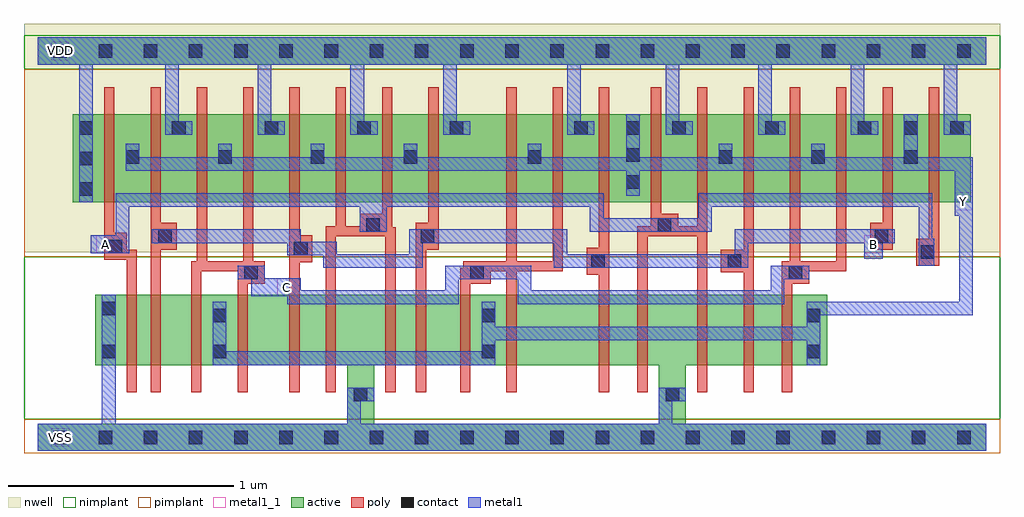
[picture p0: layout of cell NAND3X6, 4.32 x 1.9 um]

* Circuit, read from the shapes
.subckt NAND3X6 A B C VDD VSS Y
M1 n1 A VSS VSS nfet w=0.31u l=0.045u
M2 n2 B n1 VSS nfet w=0.31u l=0.045u
M3 Y C n2 VSS nfet w=0.31u l=0.045u
M4 n3 C Y VSS nfet w=0.31u l=0.045u
M5 n4 B n3 VSS nfet w=0.31u l=0.045u
M6 VSS A n4 VSS nfet w=0.31u l=0.045u
M7 n5 A VSS VSS nfet w=0.31u l=0.045u
M8 n6 B n5 VSS nfet w=0.31u l=0.045u
M9 Y C n6 VSS nfet w=0.31u l=0.045u
M10 n7 C Y VSS nfet w=0.31u l=0.045u
M11 n8 B n7 VSS nfet w=0.31u l=0.045u
M12 VSS A n8 VSS nfet w=0.31u l=0.045u
M13 n9 A VSS VSS nfet w=0.31u l=0.045u
M14 n10 B n9 VSS nfet w=0.31u l=0.045u
M15 Y C n10 VSS nfet w=0.31u l=0.045u
M16 Y A VDD VDD pfet w=0.39u l=0.045u m=6
M17 VDD B Y VDD pfet w=0.39u l=0.045u m=6
M18 Y C VDD VDD pfet w=0.39u l=0.045u m=6
.ends

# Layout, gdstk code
import gdstk
lib = gdstk.Library(unit=1e-6, precision=5e-10)
def R(c, l, rs):  # rectangles x0, y0, x1, y1
    for r in rs: c.add(gdstk.rectangle(r[:2], r[2:], *l))
def A(c, l, x, y, w, h, nx, ny, dx, dy):  # array of equal rectangles
    R(c, l, [(x+i*dx, y+j*dy, x+i*dx+w, y+j*dy+h) for i in range(nx) for j in range(ny)])
def P(c, l, *ps):  # polygons
    for p in ps: c.add(gdstk.Polygon(p, *l))
active = (1, 0)
nwell = (2, 0)
poly = (3, 0)
nimplant = (4, 0)
pimplant = (5, 0)
contact = (6, 0)
metal1 = (7, 0)
metal1_1 = (7, 1)

nand3x6 = lib.new_cell('NAND3X6')
R(nand3x6, active, [(0.155,1.04,4.13,1.43), (0,1.65,4.2,1.77)])
P(nand3x6, active, [(0.255,0.63),(3.495,0.63),(3.495,0.32),(2.87,0.32),(2.87,0.06),(4.2,0.06),(4.2,-0.06),(0,-0.06),(0,0.06),(1.37,0.06),(1.37,0.32),(1.49,0.32),(1.49,0.06),(2.75,0.06),(2.75,0.32),(0.255,0.32)])
R(nand3x6, nwell, [(-0.06,0.82,4.26,1.83)])
P(nand3x6, poly, [(0.295,1.55),(0.34,1.55),(0.34,0.905),(0.395,0.905),(0.395,0.83),(0.44,0.83),(0.44,0.2),(0.395,0.2),(0.395,0.785),(0.295,0.785)],
  [(0.5,1.55),(0.545,1.55),(0.545,0.95),(0.615,0.95),(0.615,0.83),(0.545,0.83),(0.545,0.2),(0.5,0.2)],
  [(0.705,1.55),(0.75,1.55),(0.75,0.78),(0.91,0.78),(0.91,1.55),(0.955,1.55),(0.955,0.78),(1.005,0.78),(1.005,0.68),(0.93,0.68),(0.93,0.2),(0.885,0.2),(0.885,0.735),(0.725,0.735),(0.725,0.2),(0.68,0.2),(0.68,0.78),(0.705,0.78)],
  [(1.115,1.55),(1.16,1.55),(1.16,0.895),(1.215,0.895),(1.215,0.775),(1.16,0.775),(1.16,0.2),(1.115,0.2)],
  [(1.32,1.55),(1.365,1.55),(1.365,0.935),(1.425,0.935),(1.425,0.99),(1.525,0.99),(1.525,1.55),(1.57,1.55),(1.57,0.93),(1.585,0.93),(1.585,0.2),(1.54,0.2),(1.54,0.89),(1.32,0.89),(1.32,0.2),(1.275,0.2),(1.275,0.935),(1.32,0.935)],
  [(1.73,1.55),(1.775,1.55),(1.775,0.83),(1.72,0.83),(1.72,0.2),(1.675,0.2),(1.675,0.95),(1.73,0.95)],
  [(2.075,1.55),(2.12,1.55),(2.12,0.78),(2.28,0.78),(2.28,1.55),(2.325,1.55),(2.325,0.735),(2.12,0.735),(2.12,0.2),(2.075,0.2),(2.075,0.735),(2.005,0.735),(2.005,0.68),(1.915,0.68),(1.915,0.2),(1.87,0.2),(1.87,0.75),(1.885,0.75),(1.885,0.78),(2.075,0.78)],
  [(2.485,1.55),(2.53,1.55),(2.53,0.2),(2.485,0.2),(2.485,0.72),(2.43,0.72),(2.43,0.84),(2.485,0.84)],
  [(2.715,1.55),(2.76,1.55),(2.76,0.99),(2.835,0.99),(2.835,0.935),(2.92,0.935),(2.92,1.55),(2.965,1.55),(2.965,0.2),(2.92,0.2),(2.92,0.89),(2.7,0.89),(2.7,0.2),(2.655,0.2),(2.655,0.935),(2.715,0.935)],
  [(3.125,1.55),(3.17,1.55),(3.17,0.2),(3.125,0.2),(3.125,0.73),(3.025,0.73),(3.025,0.83),(3.125,0.83)],
  [(3.33,1.55),(3.375,1.55),(3.375,0.78),(3.535,0.78),(3.535,1.55),(3.58,1.55),(3.58,0.735),(3.415,0.735),(3.415,0.68),(3.34,0.68),(3.34,0.2),(3.295,0.2),(3.295,0.78),(3.33,0.78)],
  [(3.74,1.55),(3.785,1.55),(3.785,0.83),(3.685,0.83),(3.685,0.95),(3.74,0.95)],
  [(3.945,1.55),(3.99,1.55),(3.99,0.76),(3.89,0.76),(3.89,0.88),(3.945,0.88)])
R(nand3x6, nimplant, [(-0.06,0.08,4.26,0.8), (-0.06,1.63,4.26,1.78)])
R(nand3x6, pimplant, [(-0.06,-0.07,4.26,0.08), (-0.06,0.8,4.26,1.63)])
A(nand3x6, contact, 0.07, -0.03, 0.06, 0.06, 21, 2, 0.2, 1.71)
A(nand3x6, contact, 2.605, 1.1, 0.06, 0.06, 1, 3, 0, 0.12)
A(nand3x6, contact, 0.39, 1.21, 0.06, 0.06, 4, 1, 0.41, 0)
A(nand3x6, contact, 3.015, 1.21, 0.06, 0.06, 3, 1, 0.41, 0)
A(nand3x6, contact, 0.185, 1.34, 0.06, 0.06, 5, 1, 0.41, 0)
A(nand3x6, contact, 2.81, 1.34, 0.06, 0.06, 3, 1, 0.41, 0)
R(nand3x6, contact, [(1.4,0.16,1.46,0.22), (2.78,0.16,2.84,0.22), (0.285,0.35,0.345,0.41), (0.775,0.35,0.835,0.41), (1.965,0.35,2.025,0.41), (3.405,0.35,3.465,0.41), (0.775,0.51,0.835,0.57), (1.965,0.51,2.025,0.57), (3.405,0.51,3.465,0.57), (0.285,0.54,0.345,0.6), (0.915,0.7,0.975,0.76), (1.915,0.7,1.975,0.76), (3.325,0.7,3.385,0.76), (2.45,0.75,2.51,0.81), (3.055,0.75,3.115,0.81), (3.91,0.79,3.97,0.85), (1.135,0.805,1.195,0.865), (0.315,0.815,0.375,0.875), (0.535,0.86,0.595,0.92), (1.695,0.86,1.755,0.92), (3.705,0.86,3.765,0.92), (1.455,0.91,1.515,0.97), (2.745,0.91,2.805,0.97), (0.185,1.07,0.245,1.13), (0.185,1.205,0.245,1.265), (2.17,1.21,2.23,1.27), (2.375,1.34,2.435,1.4), (3.835,1.34,3.895,1.4), (4.04,1.34,4.1,1.4)])
P(nand3x6, metal1, [(0,1.77),(4.2,1.77),(4.2,1.65),(4.07,1.65),(4.07,1.4),(4.13,1.4),(4.13,1.34),(4.01,1.34),(4.01,1.65),(3.66,1.65),(3.66,1.4),(3.72,1.4),(3.72,1.34),(3.6,1.34),(3.6,1.65),(3.25,1.65),(3.25,1.4),(3.31,1.4),(3.31,1.34),(3.19,1.34),(3.19,1.65),(2.84,1.65),(2.84,1.4),(2.9,1.4),(2.9,1.34),(2.78,1.34),(2.78,1.65),(2.405,1.65),(2.405,1.4),(2.465,1.4),(2.465,1.34),(2.345,1.34),(2.345,1.65),(1.855,1.65),(1.855,1.4),(1.915,1.4),(1.915,1.34),(1.795,1.34),(1.795,1.65),(1.445,1.65),(1.445,1.4),(1.505,1.4),(1.505,1.34),(1.385,1.34),(1.385,1.65),(1.035,1.65),(1.035,1.4),(1.095,1.4),(1.095,1.34),(0.975,1.34),(0.975,1.65),(0.625,1.65),(0.625,1.4),(0.685,1.4),(0.685,1.34),(0.565,1.34),(0.565,1.65),(0.245,1.65),(0.245,1.04),(0.185,1.04),(0.185,1.65),(0,1.65)],
  [(0.39,1.3),(0.45,1.3),(0.45,1.24),(0.8,1.24),(0.8,1.3),(0.86,1.3),(0.86,1.24),(1.21,1.24),(1.21,1.3),(1.27,1.3),(1.27,1.24),(1.62,1.24),(1.62,1.3),(1.68,1.3),(1.68,1.24),(2.17,1.24),(2.17,1.3),(2.23,1.3),(2.23,1.24),(2.605,1.24),(2.605,1.43),(2.665,1.43),(2.665,1.24),(3.015,1.24),(3.015,1.3),(3.075,1.3),(3.075,1.24),(3.425,1.24),(3.425,1.3),(3.485,1.3),(3.485,1.24),(3.835,1.24),(3.835,1.43),(3.895,1.43),(3.895,1.24),(4.14,1.24),(4.14,0.54),(3.465,0.54),(3.465,0.32),(3.405,0.32),(3.405,0.43),(2.025,0.43),(2.025,0.32),(0.775,0.32),(0.775,0.6),(0.835,0.6),(0.835,0.38),(1.965,0.38),(1.965,0.6),(2.025,0.6),(2.025,0.49),(3.405,0.49),(3.405,0.6),(4.08,0.6),(4.08,0.98),(4.06,0.98),(4.06,1.18),(2.665,1.18),(2.665,1.07),(2.605,1.07),(2.605,1.18),(0.39,1.18)],
  [(0.345,1.08),(2.505,1.08),(2.505,0.97),(2.925,0.97),(2.925,1.08),(3.96,1.08),(3.96,0.88),(3.97,0.88),(3.97,0.76),(3.9,0.76),(3.9,1.02),(2.985,1.02),(2.985,0.91),(2.445,0.91),(2.445,1.02),(1.545,1.02),(1.545,0.91),(1.425,0.91),(1.425,1.02),(0.405,1.02),(0.405,0.815),(0.235,0.815),(0.235,0.895),(0.345,0.895)],
  [(0.505,0.92),(1.165,0.92),(1.165,0.865),(1.325,0.865),(1.325,0.81),(1.645,0.81),(1.645,0.92),(2.345,0.92),(2.345,0.81),(3.085,0.81),(3.085,0.92),(3.795,0.92),(3.795,0.86),(3.74,0.86),(3.74,0.79),(3.66,0.79),(3.66,0.86),(3.145,0.86),(3.145,0.75),(2.285,0.75),(2.285,0.86),(1.705,0.86),(1.705,0.75),(1.265,0.75),(1.265,0.805),(1.105,0.805),(1.105,0.86),(0.505,0.86)],
  [(0.885,0.76),(1.005,0.76),(1.005,0.705),(1.165,0.705),(1.165,0.65),(1.805,0.65),(1.805,0.76),(2.185,0.76),(2.185,0.65),(3.245,0.65),(3.245,0.76),(3.415,0.76),(3.415,0.7),(3.305,0.7),(3.305,0.59),(2.125,0.59),(2.125,0.7),(1.865,0.7),(1.865,0.59),(1.105,0.59),(1.105,0.625),(0.945,0.625),(0.945,0.7),(0.885,0.7)],
  [(0.285,0.63),(0.345,0.63),(0.345,0.06),(1.37,0.06),(1.37,0.22),(1.49,0.22),(1.49,0.16),(1.43,0.16),(1.43,0.06),(2.75,0.06),(2.75,0.22),(2.87,0.22),(2.87,0.16),(2.81,0.16),(2.81,0.06),(4.2,0.06),(4.2,-0.06),(0,-0.06),(0,0.06),(0.285,0.06)])
R(nand3x6, metal1_1, [(0.06,-0.04,0.14,0.04), (1.06,0.625,1.14,0.705), (0.26,0.815,0.34,0.895), (3.66,0.815,3.74,0.895), (4.06,1.005,4.14,1.085), (0.06,1.67,0.14,1.75)])
nand3x6.add(gdstk.Label('Y', (4.1,1.045), layer=7, texttype=1))
nand3x6.add(gdstk.Label('A', (0.3,0.855), layer=7, texttype=1))
nand3x6.add(gdstk.Label('B', (3.7,0.855), layer=7, texttype=1))
nand3x6.add(gdstk.Label('C', (1.1,0.665), layer=7, texttype=1))
nand3x6.add(gdstk.Label('VDD', (0.1,1.71), layer=7, texttype=1))
nand3x6.add(gdstk.Label('VSS', (0.1,0), layer=7, texttype=1))
nand3x6.add(gdstk.Label('NAND3X6', (0,0), layer=63, texttype=0))

lib.write_gds('NAND3X6.gds')
